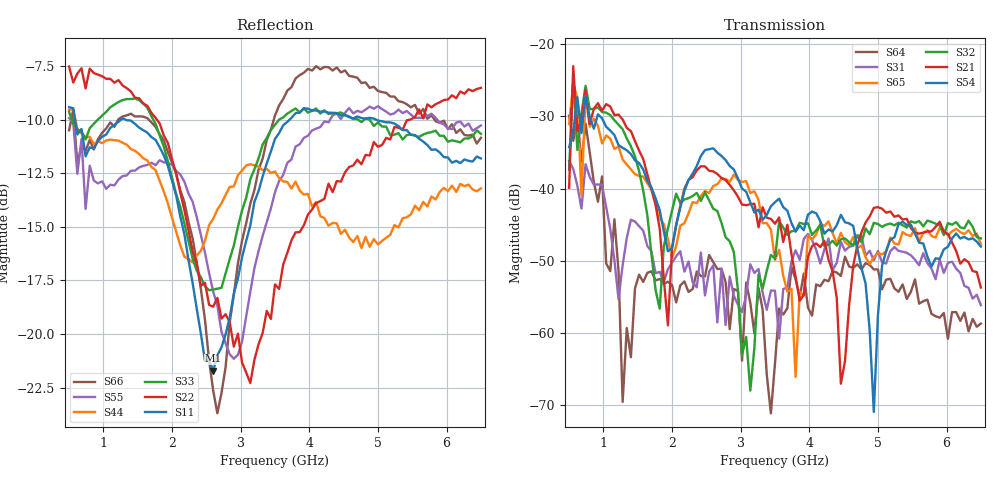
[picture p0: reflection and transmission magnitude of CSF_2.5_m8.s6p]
!Keysight Technologies,M9804A,MY58100912,A.14.10.03
!Date: Thursday, April 27, 2023 10:28:33
!Correction: S11(C  6-Port  )
!S12(C  6-Port  )
!S13(C  6-Port  )
!S14(C  6-Port  )
!S15(C  6-Port  )
!S16(C  6-Port  )
!S21(C  6-Port  )
!S22(C  6-Port  )
!S23(C  6-Port  )
!S24(C  6-Port  )
!S25(C  6-Port  )
!S26(C  6-Port  )
!S31(C  6-Port  )
!S32(C  6-Port  )
!S33(C  6-Port  )
!S34(C  6-Port  )
!S35(C  6-Port  )
!S36(C  6-Port  )
!S41(C  6-Port  )
!S42(C  6-Port  )
!S43(C  6-Port  )
!S44(C  6-Port  )
!S45(C  6-Port  )
!S46(C  6-Port  )
!S51(C  6-Port  )
!S52(C  6-Port  )
!S53(C  6-Port  )
!S54(C  6-Port  )
!S55(C  6-Port  )
!S56(C  6-Port  )
!S61(C  6-Port  )
!S62(C  6-Port  )
!S63(C  6-Port  )
!S64(C  6-Port  )
!S65(C  6-Port  )
!S66(C  6-Port  )
!S6P File: Measurement: :
# Hz S  RI  R 50
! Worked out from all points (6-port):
!   101 points, 500 MHz to 6.5 GHz, reference 50 ohm
!   strongest paths, dB at 500 MHz, 2 GHz, 3.5 GHz, 5 GHz, 6.5 GHz:
!     S54: -34.3, -48.2, -41.9, -57.5, -48.0
!     S21: -39.9, -48.2, -44.9, -42.6, -53.7
!     S32: -37.4, -43.1, -49.7, -44.9, -46.9
!     S65: -31.1, -49.6, -49.9, -48.9, -47.7
!     S31: -36.2, -50.3, -54.2, -48.6, -56.1
!     S64: -29.9, -53.4, -64.2, -51.2, -58.7
!   lowest |S11| = -21.7 dB at 2.6 GHz (marker M1), VSWR 1.18, Z = 42.6 + j1.96 ohm
!   |S11| at or under -10 dB: 585.8 MHz to 1.259 GHz (673.4 MHz wide, 73 % of centre); 1.318 GHz to 3.715 GHz (2.398 GHz wide, 95.3 % of centre); 4.969 GHz to end of sweep
